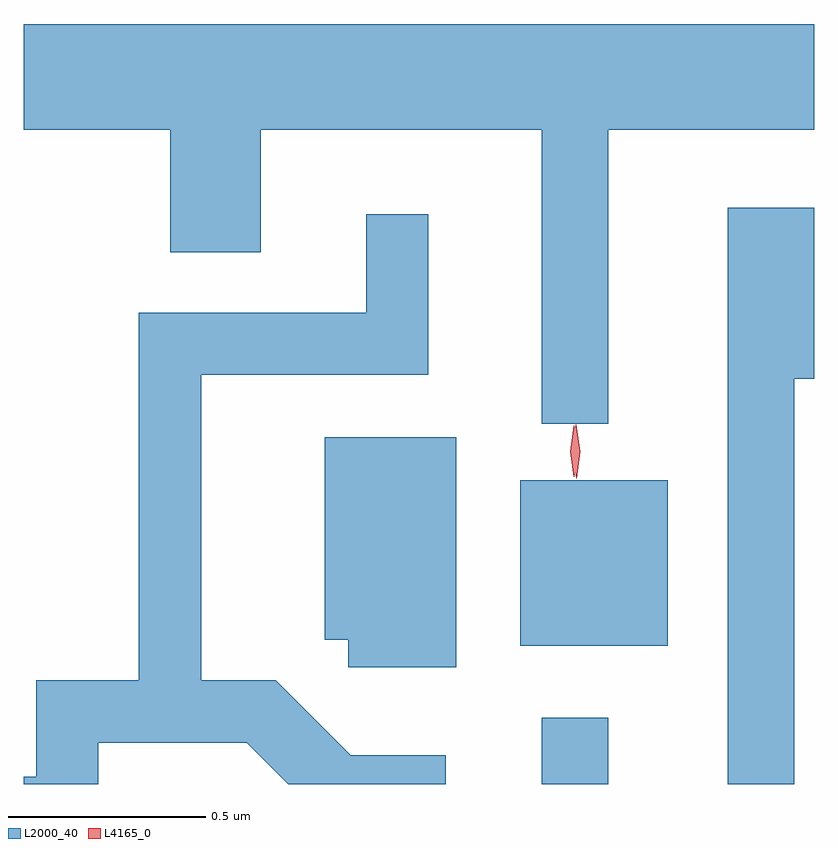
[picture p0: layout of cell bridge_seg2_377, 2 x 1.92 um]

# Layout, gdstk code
import gdstk
lib = gdstk.Library(unit=1e-6, precision=1e-09)
def R(c, l, rs):  # rectangles x0, y0, x1, y1
    for r in rs: c.add(gdstk.rectangle(r[:2], r[2:], *l))
def P(c, l, *ps):  # polygons
    for p in ps: c.add(gdstk.Polygon(p, *l))
L2000_40 = (2000, 40)
L4165_0 = (4165, 0)

bridge_seg2_377 = lib.new_cell('bridge_seg2_377')
R(bridge_seg2_377, L2000_40, [(433.281,1011.141,433.449,1011.308), (433.226,1011.491,433.599,1011.909)])
P(bridge_seg2_377, L2000_40, [(433.449,1012.796),(433.97,1012.796),(433.97,1013.064),(431.97,1013.064),(431.97,1012.796),(432.341,1012.796),(432.341,1012.486),(432.569,1012.486),(432.569,1012.796),(433.281,1012.796),(433.281,1012.053),(433.449,1012.053)],
  [(433.919,1012.166),(433.97,1012.166),(433.97,1012.599),(433.751,1012.599),(433.751,1011.141),(433.919,1011.141)],
  [(432.159,1011.246),(432.534,1011.246),(432.639,1011.141),(433.038,1011.141),(433.038,1011.214),(432.797,1011.214),(432.607,1011.404),(432.419,1011.404),(432.419,1012.176),(432.994,1012.176),(432.994,1012.583),(432.836,1012.583),(432.836,1012.334),(432.261,1012.334),(432.261,1011.404),(432.001,1011.404),(432.001,1011.159),(431.97,1011.159),(431.97,1011.141),(432.159,1011.141)],
  [(433.064,1012.019),(432.731,1012.019),(432.731,1011.506),(432.791,1011.506),(432.791,1011.436),(433.064,1011.436)])
P(bridge_seg2_377, L4165_0, [(433.368,1011.914),(433.358,1011.982),(433.367,1012.05),(433.368,1012.05),(433.368,1012.05),(433.378,1011.982),(433.369,1011.914),(433.369,1011.914)],
  [(433.362,1011.918),(433.353,1011.982),(433.362,1012.047),(433.363,1012.047),(433.363,1012.047),(433.373,1011.982),(433.363,1011.918),(433.363,1011.918)])

lib.write_gds('bridge_seg2_377.gds')
